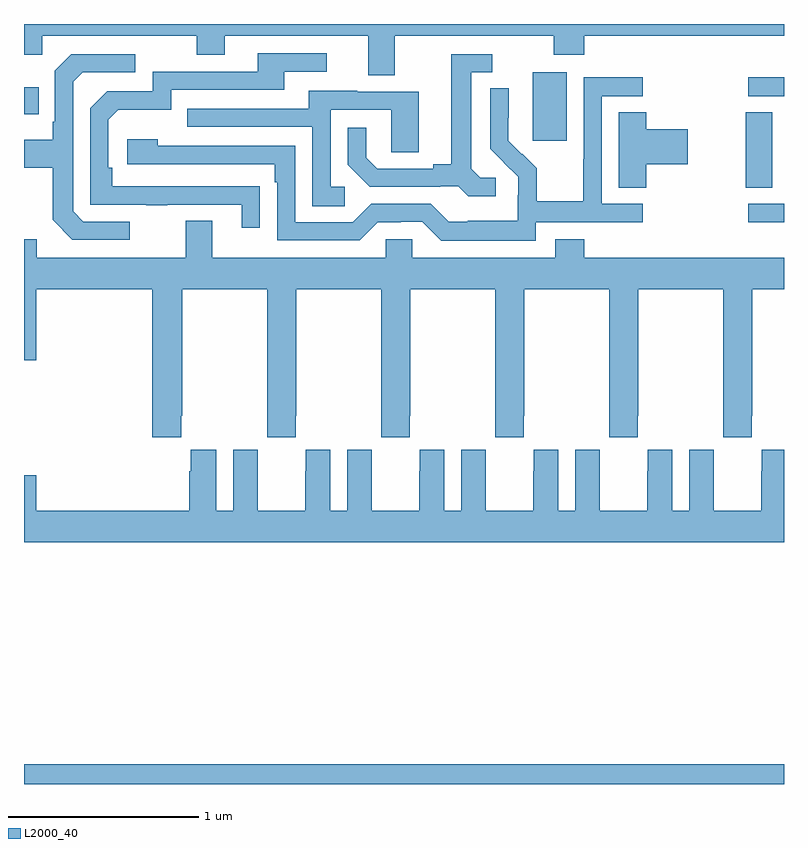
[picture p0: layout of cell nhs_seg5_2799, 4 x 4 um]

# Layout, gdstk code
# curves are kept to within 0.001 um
import gdstk
lib = gdstk.Library(unit=1e-6, precision=1e-09)
def R(c, l, rs):  # rectangles x0, y0, x1, y1
    for r in rs: c.add(gdstk.rectangle(r[:2], r[2:], *l))
def P(c, l, *ps):  # polygons
    for p in ps: c.add(gdstk.Polygon(p, *l))
L2000_40 = (2000, 40)

nhs_seg5_2799 = lib.new_cell('nhs_seg5_2799')
R(nhs_seg5_2799, L2000_40, [(273,876.799,277,876.904), (276.813,879.756,277,879.852), (276.799,879.937,276.937,880.334), (275.678,880.185,275.857,880.546), (273,880.325,273.077,880.465), (276.813,880.419,277,880.518)])
P(nhs_seg5_2799, L2000_40, [(274.951,880.736),(275.788,880.736),(275.788,880.637),(275.948,880.637),(275.948,880.736),(277,880.736),(277,880.799),(273,880.799),(273,880.637),(273.096,880.637),(273.096,880.736),(273.91,880.736),(273.91,880.637),(274.057,880.637),(274.057,880.736),(274.811,880.736),(274.811,880.528),(274.951,880.528)],
  [(274.241,879.944),(273.464,879.945),(273.464,880.042),(273.444,880.042),(273.444,880.296),(273.497,880.349),(273.774,880.349),(273.774,880.452),(274.369,880.452),(274.369,880.548),(274.594,880.548),(274.594,880.644),(274.229,880.644),(274.229,880.548),(273.678,880.548),(273.678,880.446),(273.438,880.446),(273.348,880.356),(273.348,879.849),(273.643,879.849),(273.643,879.844),(273.755,879.844),(273.755,879.849),(274.145,879.849),(274.145,879.726),(274.241,879.726)],
  [(275.482,879.99),(275.4,879.99),(275.353,880.037),(275.353,880.545),(275.464,880.545),(275.464,880.641),(275.249,880.641),(275.249,880.061),(275.153,880.061),(275.153,880.038),(274.858,880.038),(274.801,880.095),(274.801,880.252),(274.704,880.252),(274.704,880.058),(274.82,879.942),(275.192,879.942),(275.192,879.945),(275.286,879.945),(275.338,879.893),(275.482,879.893)],
  [(273.556,879.759),(273.312,879.759),(273.258,879.813),(273.258,880.494),(273.309,880.545),(273.586,880.545),(273.586,880.641),(273.249,880.641),(273.162,880.554),(273.162,880.285),(273.15,880.285),(273.15,880.189),(273,880.189),(273,880.042),(273.15,880.042),(273.15,879.769),(273.255,879.663),(273.556,879.663)],
  [(275.694,879.756),(276.256,879.756),(276.256,879.852),(276.042,879.852),(276.042,880.419),(276.256,880.419),(276.256,880.518),(275.946,880.518),(275.946,880.088),(275.944,880.088),(275.944,879.865),(275.699,879.865),(275.699,880.039),(275.622,880.116),(275.619,880.113),(275.549,880.184),(275.55,880.46),(275.454,880.46),(275.454,880.142),(275.6,879.994),(275.6,879.897),(275.598,879.897),(275.598,879.763),(275.335,879.763),(275.335,879.759),(275.235,879.759),(275.142,879.852),(274.827,879.852),(274.731,879.756),(274.428,879.756),(274.428,880.158),(273.704,880.158),(273.704,880.192),(273.543,880.192),(273.543,880.062),(274.319,880.062),(274.319,879.965),(274.332,879.965),(274.332,879.66),(274.767,879.66),(274.863,879.756),(274.982,879.756),(274.982,879.759),(275.097,879.759),(275.197,879.659),(275.694,879.659)],
  [(274.687,879.942),(274.614,879.942),(274.614,880.347),(274.932,880.347),(274.932,880.123),(275.077,880.123),(275.077,880.443),(274.753,880.443),(274.753,880.447),(274.499,880.447),(274.499,880.353),(273.859,880.353),(273.859,880.257),(274.518,880.257),(274.518,879.841),(274.687,879.841)],
  [(276.275,880.061),(276.493,880.061),(276.493,880.244),(276.275,880.244),(276.275,880.334),(276.131,880.334),(276.131,879.937),(276.275,879.937)],
  [(273.827,878.737),(273.834,878.737),(273.834,879.404),(274.279,879.404),(274.279,878.737),(274.281,878.737),(274.281,878.625),(274.431,878.625),(274.431,878.737),(274.434,878.737),(274.434,879.404),(274.879,879.404),(274.879,878.737),(274.881,878.737),(274.881,878.625),(275.031,878.625),(275.031,878.737),(275.034,878.737),(275.034,879.404),(275.479,879.404),(275.479,878.737),(275.481,878.737),(275.481,878.625),(275.631,878.625),(275.631,878.737),(275.634,878.737),(275.634,879.404),(276.079,879.404),(276.079,878.737),(276.081,878.737),(276.081,878.625),(276.231,878.625),(276.231,878.737),(276.234,878.737),(276.234,879.404),(276.679,879.404),(276.679,878.737),(276.681,878.737),(276.681,878.625),(276.831,878.625),(276.831,878.737),(276.834,878.737),(276.834,879.404),(277,879.404),(277,879.568),(275.948,879.568),(275.948,879.667),(275.795,879.667),(275.795,879.568),(275.043,879.568),(275.043,879.666),(274.905,879.666),(274.905,879.568),(273.991,879.568),(273.991,879.763),(273.851,879.763),(273.851,879.568),(273.067,879.568),(273.067,879.667),(273,879.667),(273,879.03),(273.064,879.03),(273.064,879.404),(273.674,879.404),(273.674,878.625),(273.827,878.625)],
  [(273.878,878.557),(273.878,878.444),(273.869,878.444),(273.869,878.236),(273.064,878.236),(273.064,878.425),(273,878.425),(273,878.072),(277,878.072),(277,878.557),(276.882,878.557),(276.882,878.444),(276.881,878.444),(276.881,878.236),(276.631,878.236),(276.631,878.444),(276.63,878.444),(276.63,878.557),(276.5,878.557),(276.5,878.236),(276.412,878.236),(276.412,878.557),(276.282,878.557),(276.282,878.444),(276.281,878.444),(276.281,878.236),(276.031,878.236),(276.031,878.444),(276.03,878.444),(276.03,878.557),(275.9,878.557),(275.9,878.236),(275.812,878.236),(275.812,878.557),(275.682,878.557),(275.682,878.444),(275.681,878.444),(275.681,878.236),(275.431,878.236),(275.431,878.444),(275.43,878.444),(275.43,878.557),(275.3,878.557),(275.3,878.236),(275.212,878.236),(275.212,878.557),(275.082,878.557),(275.082,878.444),(275.081,878.444),(275.081,878.236),(274.831,878.236),(274.831,878.444),(274.83,878.444),(274.83,878.557),(274.7,878.557),(274.7,878.236),(274.612,878.236),(274.612,878.557),(274.482,878.557),(274.482,878.444),(274.481,878.444),(274.481,878.236),(274.231,878.236),(274.231,878.444),(274.23,878.444),(274.23,878.557),(274.1,878.557),(274.1,878.236),(274.012,878.236),(274.012,878.557)])

lib.write_gds('nhs_seg5_2799.gds')
